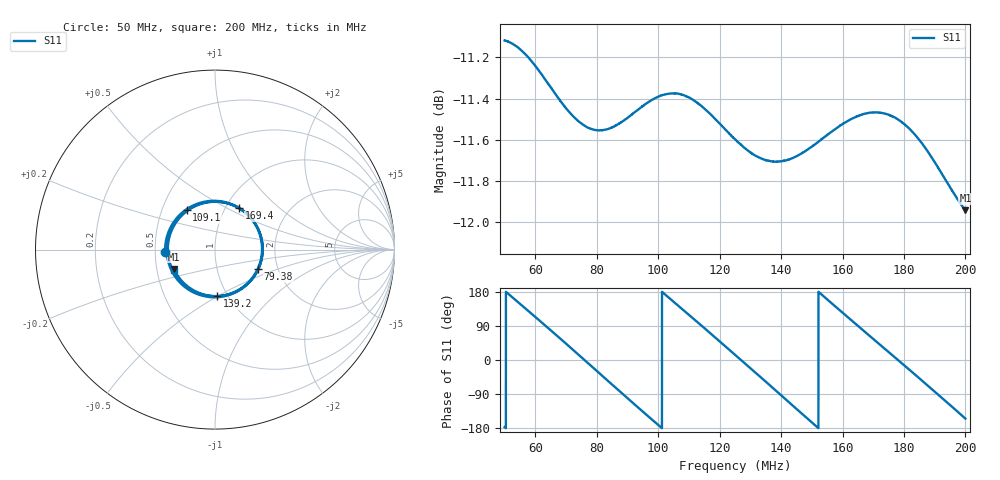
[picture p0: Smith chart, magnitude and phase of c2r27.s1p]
! COPPER MOUNTAIN TECHNOLOGIES, PLANAR TR1300/1, 00071119, 20.2.2/1.0
! Date: 1/7/2024 7:28:13 PM
! Data: Format [Calibration Info]
! Freq  S11: Re/Im F1
# HZ S RI R 50
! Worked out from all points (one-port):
!   12288 points, 50 MHz to 200 MHz, reference 50 ohm
!   lowest |S11| = -11.9 dB at 200 MHz (marker M1), VSWR 1.68, Z = 30.8 - j7.13 ohm
!   |S11| at or under -10 dB: start of sweep to end of sweep
!   S11 on the Smith chart (normalised r, x): 50 MHz: 0.57, -0.02; 79.38 MHz: 1.58, -0.37; 109.1 MHz: 0.67, +0.32; 139.2 MHz: 0.90, -0.50; 169.4 MHz: 1.16, +0.58; 200 MHz: 0.62, -0.14
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5e7  -0.2777 -0.0141
5.479775e7  -0.2389 0.1398
6.027916e7  -0.101 0.2547
6.446651e7  0.0362 0.2688
6.875153e7  0.1651 0.2116
7.420851e7  0.2589 0.0598
7.938472e7  0.241 -0.1089
8.750305e7  0.0329 -0.2634
9.234964e7  -0.1234 -0.2369
9.783104e7  -0.2461 -0.1084
1.01994e8  -0.2686 0.025
1.062546e8  -0.2213 0.1545
1.090502e8  -0.1573 0.2188
1.165704e8  0.0758 0.256
1.250061e8  0.255 0.0647
1.313787e8  0.2232 -0.1348
1.391674e8  0.0133 -0.2595
1.437576e8  -0.1303 -0.2254
1.485554e8  -0.2358 -0.1132
1.529259e8  -0.2618 0.0247
1.573452e8  -0.2126 0.1574
1.625092e8  -0.0797 0.2538
1.693945e8  0.1346 0.2306
1.755595e8  0.2547 0.0788
1.812607e8  0.2452 -0.1002
1.862171e8  0.144 -0.2192
1.905876e8  0.0118 -0.2591
2e8  -0.2284 -0.1085
